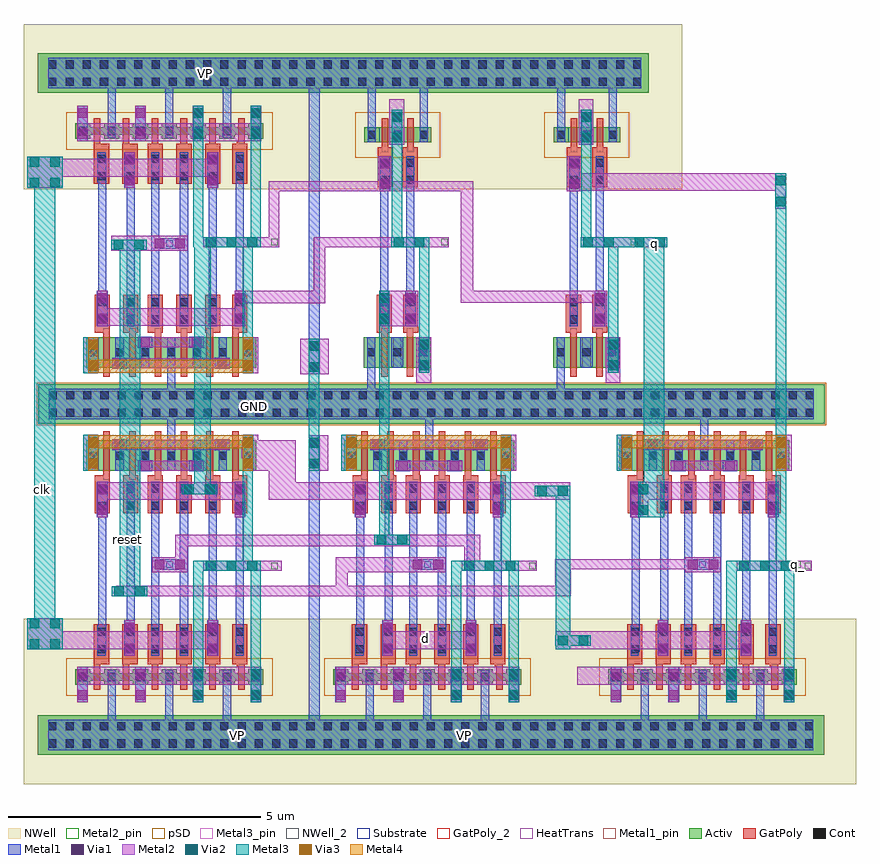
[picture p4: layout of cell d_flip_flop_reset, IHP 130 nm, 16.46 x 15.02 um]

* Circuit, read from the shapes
.subckt d_flip_flop_reset GND VP clk d q q_ reset
XM1 n1 NAND_2in_x2_27/a NAND_3in_x3_19/a GND sg13_lv_nmos w=0.6u l=0.13u m=2
XM2 n2 NAND_3in_x3_21/a NAND_2in_x2_27/a GND sg13_lv_nmos w=0.6u l=0.13u m=2
XM3 n3 clk n1 GND sg13_lv_nmos w=0.6u l=0.13u m=2
XM4 n4 clk n2 GND sg13_lv_nmos w=0.6u l=0.13u m=2
XM5 GND NAND_2in_x2_28/a n3 GND sg13_lv_nmos w=0.6u l=0.13u m=2
XM6 GND reset n4 GND sg13_lv_nmos w=0.6u l=0.13u m=2
XM7 n5 NAND_3in_x3_19/a NAND_2in_x2_28/a GND sg13_lv_nmos w=0.6u l=0.13u m=2
XM8 n6 NAND_2in_x2_27/a GND GND sg13_lv_nmos w=0.6u l=0.13u
XM9 n7 d n5 GND sg13_lv_nmos w=0.6u l=0.13u m=2
XM10 NAND_3in_x3_21/a NAND_2in_x2_28/a n6 GND sg13_lv_nmos w=0.6u l=0.13u
XM11 GND reset n7 GND sg13_lv_nmos w=0.6u l=0.13u m=2
XM12 n8 q_ GND GND sg13_lv_nmos w=0.6u l=0.13u
XM13 q NAND_2in_x2_27/a n8 GND sg13_lv_nmos w=0.6u l=0.13u
XM14 n9 q q_ GND sg13_lv_nmos w=0.6u l=0.13u m=2
XM15 n10 NAND_3in_x3_19/a n9 GND sg13_lv_nmos w=0.6u l=0.13u m=2
XM16 GND reset n10 GND sg13_lv_nmos w=0.6u l=0.13u m=2
XM17 VP NAND_2in_x2_27/a NAND_3in_x3_19/a VP sg13_lv_pmos w=0.15u l=0.13u m=2
XM18 VP NAND_3in_x3_21/a NAND_2in_x2_27/a VP sg13_lv_pmos w=0.15u l=0.13u m=2
XM19 NAND_3in_x3_19/a clk VP VP sg13_lv_pmos w=0.15u l=0.13u m=2
XM20 NAND_2in_x2_27/a clk VP VP sg13_lv_pmos w=0.15u l=0.13u m=2
XM21 VP NAND_2in_x2_28/a NAND_3in_x3_19/a VP sg13_lv_pmos w=0.15u l=0.13u m=2
XM22 VP reset NAND_2in_x2_27/a VP sg13_lv_pmos w=0.15u l=0.13u m=2
XM23 VP NAND_3in_x3_19/a NAND_2in_x2_28/a VP sg13_lv_pmos w=0.15u l=0.13u m=2
XM24 NAND_2in_x2_28/a d VP VP sg13_lv_pmos w=0.15u l=0.13u m=2
XM25 NAND_3in_x3_21/a NAND_2in_x2_27/a VP VP sg13_lv_pmos w=0.3u l=0.13u
XM26 VP NAND_2in_x2_28/a NAND_3in_x3_21/a VP sg13_lv_pmos w=0.3u l=0.13u
XM27 VP reset NAND_2in_x2_28/a VP sg13_lv_pmos w=0.15u l=0.13u m=2
XM28 q q_ VP VP sg13_lv_pmos w=0.3u l=0.13u
XM29 VP NAND_2in_x2_27/a q VP sg13_lv_pmos w=0.3u l=0.13u
XM30 VP q q_ VP sg13_lv_pmos w=0.15u l=0.13u m=2
XM31 q_ NAND_3in_x3_19/a VP VP sg13_lv_pmos w=0.15u l=0.13u m=2
XM32 VP reset q_ VP sg13_lv_pmos w=0.15u l=0.13u m=2
.ends

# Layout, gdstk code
from math import pi, radians
import gdstk
lib = gdstk.Library(unit=1e-6, precision=1e-09)
def R(c, l, rs):  # rectangles x0, y0, x1, y1
    for r in rs: c.add(gdstk.rectangle(r[:2], r[2:], *l))
def A(c, l, x, y, w, h, nx, ny, dx, dy):  # array of equal rectangles
    R(c, l, [(x+i*dx, y+j*dy, x+i*dx+w, y+j*dy+h) for i in range(nx) for j in range(ny)])
Activ = (1, 0)
GatPoly = (5, 0)
GatPoly_2 = (5, 2)
Cont = (6, 0)
Metal1 = (8, 0)
Metal1_pin = (8, 2)
Metal2 = (10, 0)
Metal2_pin = (10, 2)
pSD = (14, 0)
Via1 = (19, 0)
Via2 = (29, 0)
Metal3 = (30, 0)
Metal3_pin = (30, 2)
NWell = (31, 0)
NWell_2 = (31, 2)
Substrate = (40, 0)
Via3 = (49, 0)
Metal4 = (50, 0)
HeatTrans = (51, 0)

ptap1_19 = lib.new_cell('ptap1$19')
R(ptap1_19, Activ, [(0,0,1.7,0.78)])
A(ptap1_19, Cont, 0.09, 0.14, 0.16, 0.16, 5, 2, 0.34, 0.34)
R(ptap1_19, Metal1, [(0.09,0.09,1.61,0.69), (0.09,0.14,1.61,0.64)])
R(ptap1_19, Metal1_pin, [(0.09,0.14,1.61,0.64)])
R(ptap1_19, pSD, [(-0.03,-0.03,1.73,0.81)])
R(ptap1_19, Substrate, [(0,0,1.7,0.78)])
ptap1_19.add(gdstk.Label('sub!', (0.85,0.01), layer=63, texttype=0))
ptap1_19.add(gdstk.Label('sub!', (0.85,0.01), layer=40, texttype=0))

ntap1_2 = lib.new_cell('ntap1$2')
R(ntap1_2, Activ, [(0,0,1.7,0.78)])
A(ntap1_2, Cont, 0.09, 0.14, 0.16, 0.16, 5, 2, 0.34, 0.34)
R(ntap1_2, Metal1, [(0.09,0.09,1.61,0.69)])
R(ntap1_2, Metal1_pin, [(0.09,0.09,1.61,0.69), (0.09,0.14,1.61,0.64)])
R(ntap1_2, NWell, [(-0.24,-0.24,1.94,1.02), (0,0,1.7,0.78)])
R(ntap1_2, NWell_2, [(0,0,1.7,0.78)])
ntap1_2.add(gdstk.Label('well', (0.85,0.01), layer=63, texttype=0))
ntap1_2.add(gdstk.Label('well', (0.85,0.01), layer=31, texttype=0))

ntap1_11 = lib.new_cell('ntap1$11')
R(ntap1_11, Activ, [(0,0,2.4,0.78)])
A(ntap1_11, Cont, 0.1, 0.14, 0.16, 0.16, 7, 2, 0.34, 0.34)
R(ntap1_11, Metal1, [(0.1,0.09,2.3,0.69)])
R(ntap1_11, Metal1_pin, [(0.1,0.09,2.3,0.69), (0.1,0.14,2.3,0.64)])
R(ntap1_11, NWell, [(-0.24,-0.24,2.64,1.02), (0,0,2.4,0.78)])
R(ntap1_11, NWell_2, [(0,0,2.4,0.78)])
ntap1_11.add(gdstk.Label('well', (1.2,0.01), layer=63, texttype=0))
ntap1_11.add(gdstk.Label('well', (1.2,0.01), layer=31, texttype=0))

ntap1_4 = lib.new_cell('ntap1$4')
R(ntap1_4, Activ, [(0,0,2.2,0.78)])
A(ntap1_4, Cont, 0.17, 0.14, 0.16, 0.16, 6, 2, 0.34, 0.34)
R(ntap1_4, Metal1, [(0.17,0.09,2.03,0.69)])
R(ntap1_4, Metal1_pin, [(0.17,0.09,2.03,0.69), (0.17,0.14,2.03,0.64)])
R(ntap1_4, NWell, [(-0.24,-0.24,2.44,1.02), (0,0,2.2,0.78)])
R(ntap1_4, NWell_2, [(0,0,2.2,0.78)])
ntap1_4.add(gdstk.Label('well', (1.1,0.01), layer=63, texttype=0))
ntap1_4.add(gdstk.Label('well', (1.1,0.01), layer=31, texttype=0))

via_35 = lib.new_cell('Via$35')
R(via_35, Metal2, [(-0.35,-0.1,0.35,0.1)])
R(via_35, Via2, [(-0.3,-0.095,-0.11,0.095), (0.11,-0.095,0.3,0.095)])
R(via_35, Metal3, [(-0.35,-0.1,0.35,0.1)])

via_1 = lib.new_cell('Via$1')
R(via_1, Metal2, [(-0.35,-0.305,0.35,0.305)])
R(via_1, Via2, [(-0.3,-0.3,-0.11,-0.11), (0.11,-0.3,0.3,-0.11), (-0.3,0.11,-0.11,0.3), (0.11,0.11,0.3,0.3)])
R(via_1, Metal3, [(-0.35,-0.305,0.35,0.305)])

via_9 = lib.new_cell('Via$9')
R(via_9, Metal2, [(-0.1,-0.35,0.1,0.35)])
R(via_9, Via2, [(-0.095,-0.3,0.095,-0.11), (-0.095,0.11,0.095,0.3)])
R(via_9, Metal3, [(-0.1,-0.35,0.1,0.35)])

via_6 = lib.new_cell('Via$6')
R(via_6, Metal1, [(-0.105,-0.35,0.105,0.35)])
R(via_6, Metal2, [(-0.1,-0.35,0.1,0.35)])
R(via_6, Via1, [(-0.095,-0.3,0.095,-0.11), (-0.095,0.11,0.095,0.3)])

via_1_4 = lib.new_cell('Via$1$4')
R(via_1_4, Metal2, [(-0.1,-0.555,0.1,0.555)])
A(via_1_4, Via2, -0.095, -0.505, 0.19, 0.19, 1, 3, 0, 0.41)
R(via_1_4, Metal3, [(-0.1,-0.555,0.1,0.555)])

nmos_2 = lib.new_cell('nmos$2')
A(nmos_2, Activ, 0, 0, 0.3, 0.3, 7, 1, 0.51, 0)
R(nmos_2, Activ, [(0,0,3.36,0.6)])
A(nmos_2, GatPoly, 0.34, -0.18, 0.13, 0.96, 6, 1, 0.51, 0)
R(nmos_2, GatPoly_2, [(0.34,-0.18,0.47,0.78)])
A(nmos_2, Cont, 0.07, 0.22, 0.16, 0.16, 7, 1, 0.51, 0)
A(nmos_2, Metal1, 0.07, 0, 0.16, 0.6, 7, 1, 0.51, 0)
R(nmos_2, Metal1_pin, [(0.07,0,0.23,0.6), (0.58,0,0.74,0.6)])
A(nmos_2, HeatTrans, 0.34, -0.18, 0.13, 0.96, 6, 1, 0.51, 0)
nmos_2.add(gdstk.Label('nmos', (0.405,0.3), layer=63, texttype=0))
nmos_2.add(gdstk.Label('nmos', (0.405,0.3), layer=51, texttype=0))
nmos_2.add(gdstk.Label('nmos', (0.915,0.3), layer=51, texttype=0))
nmos_2.add(gdstk.Label('nmos', (1.425,0.3), layer=51, texttype=0))
nmos_2.add(gdstk.Label('nmos', (1.935,0.3), layer=51, texttype=0))
nmos_2.add(gdstk.Label('nmos', (2.445,0.3), layer=51, texttype=0))
nmos_2.add(gdstk.Label('nmos', (2.955,0.3), layer=51, texttype=0))

ntap1_6 = lib.new_cell('ntap1$6')
R(ntap1_6, Activ, [(0,0,5,0.78)])
A(ntap1_6, Cont, 0.21, 0.14, 0.16, 0.16, 14, 2, 0.34, 0.34)
R(ntap1_6, Metal1, [(0.21,0.09,4.79,0.69)])
R(ntap1_6, Metal1_pin, [(0.21,0.09,4.79,0.69), (0.21,0.14,4.79,0.64)])
R(ntap1_6, NWell, [(-0.24,-0.24,5.24,1.02), (0,0,5,0.78)])
R(ntap1_6, NWell_2, [(0,0,5,0.78)])
ntap1_6.add(gdstk.Label('well', (2.5,0.01), layer=63, texttype=0))
ntap1_6.add(gdstk.Label('well', (2.5,0.01), layer=31, texttype=0))

ptap1_2 = lib.new_cell('ptap1$2')
R(ptap1_2, Activ, [(0,0,5,0.78)])
A(ptap1_2, Cont, 0.21, 0.14, 0.16, 0.16, 14, 2, 0.34, 0.34)
R(ptap1_2, Metal1, [(0.21,0.09,4.79,0.69), (0.21,0.14,4.79,0.64)])
R(ptap1_2, Metal1_pin, [(0.21,0.14,4.79,0.64)])
R(ptap1_2, pSD, [(-0.03,-0.03,5.03,0.81)])
R(ptap1_2, Substrate, [(0,0,5,0.78)])
ptap1_2.add(gdstk.Label('sub!', (2.5,0.01), layer=63, texttype=0))
ptap1_2.add(gdstk.Label('sub!', (2.5,0.01), layer=40, texttype=0))

via_4_1 = lib.new_cell('Via$4$1')
R(via_4_1, Metal3, [(-0.1,-0.35,0.1,0.35)])
R(via_4_1, Via3, [(-0.095,-0.3,0.095,-0.11), (-0.095,0.11,0.095,0.3)])
R(via_4_1, Metal4, [(-0.1,-0.35,0.1,0.35)])

via_2_4 = lib.new_cell('Via$2$4')
R(via_2_4, Metal2, [(-0.1,-0.35,0.1,0.35)])
R(via_2_4, Via2, [(-0.095,-0.3,0.095,-0.11), (-0.095,0.11,0.095,0.3)])
R(via_2_4, Metal3, [(-0.1,-0.35,0.1,0.35)])

via_3_1 = lib.new_cell('Via$3$1')
R(via_3_1, GatPoly, [(-0.32,-0.15,0.32,0.15)])
R(via_3_1, Cont, [(-0.25,-0.08,-0.09,0.08), (0.09,-0.08,0.25,0.08)])
R(via_3_1, Metal1, [(-0.3,-0.08,0.3,0.08)])

pmos_2_3 = lib.new_cell('pmos$2$3')
A(pmos_2_3, Activ, 0, 0, 0.3, 0.3, 7, 1, 0.57, 0)
R(pmos_2_3, Activ, [(0,0.075,3.72,0.225)])
A(pmos_2_3, GatPoly, 0.37, -0.105, 0.13, 0.51, 6, 1, 0.57, 0)
R(pmos_2_3, GatPoly, [(0.37,-0.105,0.5,0.405)])
A(pmos_2_3, Cont, 0.07, 0.07, 0.16, 0.16, 7, 1, 0.57, 0)
A(pmos_2_3, Metal1, 0.64, 0.02, 0.16, 0.26, 6, 1, 0.57, 0)
R(pmos_2_3, Metal1, [(0.07,0.02,0.23,0.28), (0.07,0.02,0.23,0.28), (0.64,0.02,0.8,0.28)])
R(pmos_2_3, pSD, [(-0.18,-0.225,3.9,0.525)])
R(pmos_2_3, NWell, [(-0.31,-0.31,4.03,0.61)])
A(pmos_2_3, HeatTrans, 0.37, -0.105, 0.13, 0.51, 6, 1, 0.57, 0)
pmos_2_3.add(gdstk.Label('pmos', (0.435,0.15), layer=63, texttype=0))
pmos_2_3.add(gdstk.Label('pmos', (0.435,0.15), layer=51, texttype=0))
pmos_2_3.add(gdstk.Label('pmos', (1.005,0.15), layer=51, texttype=0))
pmos_2_3.add(gdstk.Label('pmos', (1.575,0.15), layer=51, texttype=0))
pmos_2_3.add(gdstk.Label('pmos', (2.145,0.15), layer=51, texttype=0))
pmos_2_3.add(gdstk.Label('pmos', (2.715,0.15), layer=51, texttype=0))
pmos_2_3.add(gdstk.Label('pmos', (3.285,0.15), layer=51, texttype=0))

via_5 = lib.new_cell('Via$5')
R(via_5, Metal1, [(-0.145,-0.105,0.145,0.105)])
R(via_5, Metal2, [(-0.145,-0.1,0.145,0.1)])
R(via_5, Via1, [(-0.095,-0.095,0.095,0.095)])

nand_3in_x3 = lib.new_cell('NAND_3in_x3')
A(nand_3in_x3, GatPoly, -0.54, -2.93, 0.3, 0.11, 3, 1, 0.57, 0)
A(nand_3in_x3, GatPoly, -0.54, 0.655, 0.3, 0.15, 3, 1, 0.57, 0)
R(nand_3in_x3, GatPoly, [(-1.585,-2.93,-1.285,-2.82), (-1.02,-2.93,-0.72,-2.82), (1.135,-2.93,1.435,-2.82), (-1.6,0.655,-1.3,0.805), (-1.035,0.655,-0.735,0.805), (1.13,0.655,1.43,0.805), (0.68,0.755,0.81,0.845), (1.22,0.755,1.35,0.845)])
R(nand_3in_x3, Metal1, [(-0.155,-4.075,0.005,-3.295), (-1.515,-2.44,-1.355,0.56), (-0.95,-2.44,-0.79,0.05), (0.67,-2.44,0.83,0.05), (-0.47,-2.38,-0.31,0.175), (0.1,-2.38,0.26,0.245), (1.2,-2.21,1.36,-1.27), (1.2,-1.31,1.36,-0.37), (1.2,-0.455,1.36,0.075), (0.95,1.005,1.11,2.015), (-1.33,1.07,-1.17,2.065), (-0.19,1.075,-0.03,2.065)])
R(nand_3in_x3, Metal1_pin, [(0.44,-4.33,0.57,-4.2), (0.74,2.225,0.87,2.355)])
R(nand_3in_x3, Metal2, [(-1.81,-3.73,-1.7,-3.02), (1.54,-3.73,1.65,-3.02), (-1.005,-3.635,1.015,-3.435), (-0.53,-3.22,0.43,-3.02), (-1.475,-2.795,1.395,-2.445), (-0.45,-1.315,0.25,-1.015), (1.62,-1.24,2.05,-1.04), (-0.895,0.155,0.83,0.505), (-1.925,0.855,1.7,1.205)])
R(nand_3in_x3, Metal2_pin, [(1.225,-2.31,1.355,-2.18), (-0.175,-1.235,-0.045,-1.105), (1.905,-1.205,2.035,-1.075), (0.69,0.005,0.82,0.135), (0.69,0.005,0.82,0.135)])
R(nand_3in_x3, Metal3, [(-1.81,-3.73,-1.71,-3.02), (1.34,-3.03,1.54,-2.83), (1.34,-2.83,1.54,-2.425), (1.34,-2.5,1.54,-1.15), (0.36,-1.24,0.56,-0.97), (0.38,-1.24,0.565,-1.04), (1.66,-1.24,1.7,-1.09), (1.5,-1.09,1.7,0.17), (0.36,-0.97,0.56,0.26), (1.5,0.045,1.7,1.02), (0.36,0.155,0.56,0.855)])
R(nand_3in_x3, NWell, [(-2.99,-0.1,2.93,3.17)])
R(nand_3in_x3, Metal4, [(-1.7,-3.72,1.54,-3.47)])
nand_3in_x3.add(gdstk.Reference(via_6, (1.285,-2.45), rotation=pi))
nand_3in_x3.add(gdstk.Reference(via_6, (0.75,0.285), rotation=pi))
nand_3in_x3.add(gdstk.Reference(via_6, (0.46,1.205), rotation=pi))
nand_3in_x3.add(gdstk.Reference(via_6, (1.6,1.205), rotation=pi))
nand_3in_x3.add(gdstk.Reference(via_1_4, (1.12,-1.14), rotation=3*pi/2))
nand_3in_x3.add(gdstk.Reference(nmos_2, (1.605,-3.02), rotation=pi))
nand_3in_x3.add(gdstk.Reference(ntap1_6, (-2.71,1.81)))
nand_3in_x3.add(gdstk.Reference(ptap1_2, (-2.7,-4.73)))
nand_3in_x3.add(gdstk.Reference(via_4_1, (1.44,-3.37), rotation=pi))
nand_3in_x3.add(gdstk.Reference(via_2_4, (0.46,1.205), rotation=pi))
nand_3in_x3.add(gdstk.Reference(via_2_4, (1.6,1.205), rotation=pi))
nand_3in_x3.add(gdstk.Reference(via_3_1, (0.75,-2.5), rotation=3*pi/2))
nand_3in_x3.add(gdstk.Reference(via_3_1, (1.285,-2.5), rotation=3*pi/2))
nand_3in_x3.add(gdstk.Reference(via_3_1, (0.75,0.335), rotation=3*pi/2))
nand_3in_x3.add(gdstk.Reference(via_3_1, (1.28,0.335), rotation=3*pi/2))
nand_3in_x3.add(gdstk.Reference(pmos_2_3, (1.75,1.205), rotation=pi))
nand_3in_x3.add(gdstk.Reference(via_3_1, (0.18,0.335), rotation=3*pi/2))
nand_3in_x3.add(gdstk.Reference(via_3_1, (0.18,-2.5), rotation=3*pi/2))
nand_3in_x3.add(gdstk.Reference(via_3_1, (-0.39,0.335), rotation=3*pi/2))
nand_3in_x3.add(gdstk.Reference(via_3_1, (-0.39,-2.5), rotation=3*pi/2))
nand_3in_x3.add(gdstk.Reference(via_6, (-0.1,-1.165), rotation=3*pi/2))
nand_3in_x3.add(gdstk.Reference(via_6, (-0.68,1.205), rotation=pi))
nand_3in_x3.add(gdstk.Reference(via_6, (-1.825,1.205), rotation=pi))
nand_3in_x3.add(gdstk.Reference(via_6, (0.75,0.285), rotation=pi))
nand_3in_x3.add(gdstk.Reference(via_3_1, (0.75,0.335), rotation=3*pi/2))
nand_3in_x3.add(gdstk.Reference(via_3_1, (-0.885,0.335), rotation=3*pi/2))
nand_3in_x3.add(gdstk.Reference(via_6, (-0.895,0.285), rotation=pi))
nand_3in_x3.add(gdstk.Reference(via_3_1, (-0.885,0.335), rotation=3*pi/2))
nand_3in_x3.add(gdstk.Reference(via_6, (-0.895,0.285), rotation=pi))
nand_3in_x3.add(gdstk.Reference(via_3_1, (-0.87,-2.5), rotation=3*pi/2))
nand_3in_x3.add(gdstk.Reference(via_6, (-1.435,-2.45), rotation=pi))
nand_3in_x3.add(gdstk.Reference(via_3_1, (-1.435,-2.5), rotation=3*pi/2))
nand_3in_x3.add(gdstk.Reference(via_3_1, (-1.45,0.335), rotation=3*pi/2))
nand_3in_x3.add(gdstk.Reference(via_6, (-1.61,-3.37), rotation=pi))
nand_3in_x3.add(gdstk.Reference(via_2_4, (1.445,-3.38), rotation=pi))
nand_3in_x3.add(gdstk.Reference(via_2_4, (-1.61,-3.38), rotation=pi))
nand_3in_x3.add(gdstk.Reference(via_4_1, (-1.61,-3.37), rotation=pi))
nand_3in_x3.add(gdstk.Reference(via_6, (1.445,-3.37), rotation=pi))
nand_3in_x3.add(gdstk.Reference(via_5, (-0.59,-3.12)))
nand_3in_x3.add(gdstk.Reference(via_5, (0.43,-3.12)))
nand_3in_x3.add(gdstk.Reference(via_5, (-1.095,-3.535)))
nand_3in_x3.add(gdstk.Reference(via_5, (0.935,-3.535)))
nand_3in_x3.add(gdstk.Label('GND', (0.505,-4.26), layer=8, texttype=25))
nand_3in_x3.add(gdstk.Label('VP', (0.8,2.285), layer=8, texttype=25))
nand_3in_x3.add(gdstk.Label('a', (1.285,-2.25), layer=10, texttype=25))
nand_3in_x3.add(gdstk.Label('b', (0.76,0.095), layer=10, texttype=25))
nand_3in_x3.add(gdstk.Label('b', (0.76,0.095), layer=10, texttype=25))
nand_3in_x3.add(gdstk.Label('c', (-0.11,-1.175), layer=10, texttype=25))
nand_3in_x3.add(gdstk.Label('y', (1.97,-1.14), layer=10, texttype=25))

via_8_1 = lib.new_cell('Via$8$1')
R(via_8_1, Metal1, [(-0.105,-0.35,0.105,0.35)])
R(via_8_1, Metal2, [(-0.1,-0.35,0.1,0.35)])
R(via_8_1, Via1, [(-0.095,-0.3,0.095,-0.11), (-0.095,0.11,0.095,0.3)])

ntap1_7 = lib.new_cell('ntap1$7')
R(ntap1_7, Activ, [(0,0,2.5,0.78)])
A(ntap1_7, Cont, 0.15, 0.14, 0.16, 0.16, 7, 2, 0.34, 0.34)
R(ntap1_7, Metal1, [(0.15,0.09,2.35,0.69)])
R(ntap1_7, Metal1_pin, [(0.15,0.09,2.35,0.69), (0.15,0.14,2.35,0.64)])
R(ntap1_7, NWell, [(-0.24,-0.24,2.74,1.02), (0,0,2.5,0.78)])
R(ntap1_7, NWell_2, [(0,0,2.5,0.78)])
ntap1_7.add(gdstk.Label('well', (1.25,0.01), layer=63, texttype=0))
ntap1_7.add(gdstk.Label('well', (1.25,0.01), layer=31, texttype=0))

ptap1_3_1 = lib.new_cell('ptap1$3$1')
R(ptap1_3_1, Activ, [(0,0,2.5,0.78)])
A(ptap1_3_1, Cont, 0.15, 0.14, 0.16, 0.16, 7, 2, 0.34, 0.34)
R(ptap1_3_1, Metal1, [(0.15,0.09,2.35,0.69), (0.15,0.14,2.35,0.64)])
R(ptap1_3_1, Metal1_pin, [(0.15,0.14,2.35,0.64)])
R(ptap1_3_1, pSD, [(-0.03,-0.03,2.53,0.81)])
R(ptap1_3_1, Substrate, [(0,0,2.5,0.78)])
ptap1_3_1.add(gdstk.Label('sub!', (1.25,0.01), layer=63, texttype=0))
ptap1_3_1.add(gdstk.Label('sub!', (1.25,0.01), layer=40, texttype=0))

via_10 = lib.new_cell('Via$10')
R(via_10, Metal2, [(-0.1,-0.35,0.1,0.35)])
R(via_10, Via2, [(-0.095,-0.3,0.095,-0.11), (-0.095,0.11,0.095,0.3)])
R(via_10, Metal3, [(-0.1,-0.35,0.1,0.35)])

via_1_5 = lib.new_cell('Via$1$5')
R(via_1_5, Metal1, [(-0.105,-0.35,0.105,0.35)])
R(via_1_5, Metal2, [(-0.1,-0.35,0.1,0.35)])
R(via_1_5, Via1, [(-0.095,-0.3,0.095,-0.11), (-0.095,0.11,0.095,0.3)])

via_2 = lib.new_cell('Via$2')
R(via_2, GatPoly, [(-0.32,-0.15,0.32,0.15)])
R(via_2, Cont, [(-0.25,-0.08,-0.09,0.08), (0.09,-0.08,0.25,0.08)])
R(via_2, Metal1, [(-0.3,-0.08,0.3,0.08)])

pmos = lib.new_cell('pmos')
A(pmos, Activ, 0, 0, 0.3, 0.3, 3, 1, 0.51, 0)
R(pmos, Activ, [(0,0,1.32,0.3)])
R(pmos, GatPoly, [(0.34,-0.18,0.47,0.48), (0.34,-0.18,0.47,0.48), (0.85,-0.18,0.98,0.48)])
A(pmos, Cont, 0.07, 0.07, 0.16, 0.16, 3, 1, 0.51, 0)
R(pmos, Metal1, [(0.07,0,0.23,0.3), (0.07,0,0.23,0.3), (0.58,0,0.74,0.3), (0.58,0,0.74,0.3), (1.09,0,1.25,0.3)])
R(pmos, pSD, [(-0.18,-0.3,1.5,0.6)])
R(pmos, NWell, [(-0.31,-0.31,1.63,0.61)])
R(pmos, Substrate, [(1.02,0,1.32,0.3)])
R(pmos, HeatTrans, [(0.34,-0.18,0.47,0.48), (0.85,-0.18,0.98,0.48)])
pmos.add(gdstk.Label('pmos', (0.405,0.15), layer=63, texttype=0))
pmos.add(gdstk.Label('pmos', (0.405,0.15), layer=51, texttype=0))
pmos.add(gdstk.Label('pmos', (0.915,0.15), layer=51, texttype=0))

nmos = lib.new_cell('nmos')
A(nmos, Activ, 0, 0, 0.3, 0.3, 3, 1, 0.51, 0)
R(nmos, Activ, [(0,0,1.32,0.6)])
R(nmos, GatPoly, [(0.34,-0.18,0.47,0.78), (0.85,-0.18,0.98,0.78)])
R(nmos, GatPoly_2, [(0.34,-0.18,0.47,0.78)])
A(nmos, Cont, 0.07, 0.22, 0.16, 0.16, 3, 1, 0.51, 0)
A(nmos, Metal1, 0.07, 0, 0.16, 0.6, 3, 1, 0.51, 0)
R(nmos, Metal1_pin, [(0.07,0,0.23,0.6), (0.58,0,0.74,0.6)])
R(nmos, HeatTrans, [(0.34,-0.18,0.47,0.78), (0.85,-0.18,0.98,0.78)])
nmos.add(gdstk.Label('nmos', (0.405,0.3), layer=63, texttype=0))
nmos.add(gdstk.Label('nmos', (0.405,0.3), layer=51, texttype=0))
nmos.add(gdstk.Label('nmos', (0.915,0.3), layer=51, texttype=0))

nand_2in_x2 = lib.new_cell('NAND_2in_x2')
R(nand_2in_x2, GatPoly, [(0.63,-2.93,0.93,-2.82), (1.15,-2.93,1.45,-2.82), (0.645,0.58,0.945,0.73), (1.145,0.58,1.445,0.73), (0.725,0.68,0.855,0.77)])
R(nand_2in_x2, Metal1, [(0.445,-4.32,0.605,-3.295), (0.915,-3.6,1.155,-3.34), (0.915,-3.36,1.155,-3.02), (0.7,-2.68,0.86,0.26), (1.215,-2.21,1.375,-1.27), (1.215,-1.31,1.375,-0.37), (1.215,-0.37,1.375,-0.01), (0.455,1.01,0.615,1.15), (0.455,1.115,0.615,1.99), (1.475,1.115,1.635,1.94)])
R(nand_2in_x2, Metal1_pin, [(0.44,-4.32,0.57,-4.19), (0.4,2.15,0.53,2.28)])
R(nand_2in_x2, Metal2, [(1.415,-3.92,1.705,-3.72), (1.415,-3.72,1.705,-3.02), (1.15,-2.8,1.45,-2.1), (1.62,-1.24,2.05,-1.04), (0.645,-0.14,0.945,0.56), (0.88,0.78,1.17,0.98), (0.88,0.98,1.17,1.68)])
R(nand_2in_x2, Metal2_pin, [(1.24,-2.27,1.37,-2.14), (1.905,-1.205,2.035,-1.075), (0.735,-0.1,0.865,0.03)])
R(nand_2in_x2, Metal3, [(1.465,-3.03,1.665,-2.83), (1.465,-2.905,1.665,-1.045), (0.93,-1.09,1.13,0.17), (0.93,0.1,1.13,0.62), (0.93,0.62,1.13,0.72), (0.93,0.71,1.13,0.87)])
R(nand_2in_x2, NWell, [(-0.85,-0.1,2.93,3.17)])
nand_2in_x2.add(gdstk.Reference(ntap1_7, (-0.23,1.81)))
nand_2in_x2.add(gdstk.Reference(ptap1_3_1, (-0.22,-4.73)))
nand_2in_x2.add(gdstk.Reference(via_10, (1.27,-1.14), rotation=3*pi/2))
nand_2in_x2.add(gdstk.Reference(via_1_5, (1.565,-3.37), rotation=pi))
nand_2in_x2.add(gdstk.Reference(via_1_5, (1.3,-2.45), rotation=pi))
nand_2in_x2.add(gdstk.Reference(via_1_5, (0.795,0.21), rotation=pi))
nand_2in_x2.add(gdstk.Reference(via_1_5, (1.03,1.13), rotation=pi))
nand_2in_x2.add(gdstk.Reference(via_2, (1.3,-2.5), rotation=3*pi/2))
nand_2in_x2.add(gdstk.Reference(via_2, (0.795,0.26), rotation=3*pi/2))
nand_2in_x2.add(gdstk.Reference(via_2, (1.295,0.26), rotation=3*pi/2))
nand_2in_x2.add(gdstk.Reference(via_10, (1.565,-3.37), rotation=pi))
nand_2in_x2.add(gdstk.Reference(via_10, (1.03,1.13), rotation=pi))
nand_2in_x2.add(gdstk.Reference(pmos, (1.705,1.13), rotation=pi))
nand_2in_x2.add(gdstk.Reference(via_2, (0.78,-2.5), rotation=3*pi/2))
nand_2in_x2.add(gdstk.Reference(nmos, (1.695,-3.02), rotation=pi))
nand_2in_x2.add(gdstk.Label('GND', (0.505,-4.25), layer=8, texttype=25))
nand_2in_x2.add(gdstk.Label('VP', (0.46,2.21), layer=8, texttype=25))
nand_2in_x2.add(gdstk.Label('b', (0.795,-0.04), layer=10, texttype=25))
nand_2in_x2.add(gdstk.Label('a', (1.3,-2.21), layer=10, texttype=25))
nand_2in_x2.add(gdstk.Label('y', (1.97,-1.14), layer=10, texttype=25))

d_flip_flop_reset = lib.new_cell('d_flip_flop_reset')
R(d_flip_flop_reset, Metal1, [(1.34,-7.79,1.55,-2.647), (1.34,-0.07,1.55,5.11)])
R(d_flip_flop_reset, Metal1_pin, [(4.345,-7.965,4.475,-7.835), (-0.13,-7.955,0,-7.825), (0.19,-1.45,0.32,-1.32), (-0.775,5.135,-0.645,5.265)])
R(d_flip_flop_reset, Metal2, [(6.64,-6.885,7.635,-6.535), (-3.98,-6.185,-1.905,-5.835), (6.215,-6.185,8.6,-5.835), (-2.47,-5.135,2.105,-4.935), (1.865,-5.135,2.105,-4.585), (2,-5.135,6.515,-4.935), (6.21,-5.135,6.515,-4.52), (1.865,-4.665,3.56,-4.365), (0.62,-4.64,0.8,-4.44), (4.405,-4.64,4.725,-4.025), (6.21,-4.61,9.48,-4.41), (-1.3,-4.51,-1.06,-3.96), (-1.3,-4.15,4.725,-3.92), (0.545,-3.235,2.615,-2.885), (0.545,-3.235,1.075,-2.06), (4.86,-3.235,6.5,-2.885), (0.29,-2.66,0.59,-2.41), (1.34,-2.66,1.72,-1.96), (0.015,-2.41,1.075,-2.06), (1.17,-0.75,1.73,-0.05), (2.86,0.2,3.25,0.9), (-0.125,0.535,0.085,0.735), (-0.125,0.65,1.66,0.9), (1.43,0.65,1.66,1.96), (4.345,0.66,7.05,0.9), (4.345,0.9,4.585,3.06), (-2.57,1.685,-1.76,1.985), (0.55,1.76,0.75,3.058), (1.66,1.76,3.02,1.96), (0.55,2.86,4.535,3.06), (6.435,2.87,10.77,3.22), (-3.98,3.155,-1.905,3.505)])
R(d_flip_flop_reset, Metal2_pin, [(3.58,-6.03,3.71,-5.9), (10.93,-4.58,11.06,-4.45), (8.1,1.77,8.23,1.9)])
R(d_flip_flop_reset, Metal3, [(6.215,-6.185,6.5,-2.96), (-4.085,-5.99,-3.675,3.04), (-2.4,-5.14,-1.99,1.805), (2.73,-4.015,2.93,0.215), (7.955,-3.58,8.365,1.96), (10.57,-3.23,10.77,3.22), (-0.93,-3.115,-0.6,1.96), (1.34,-2.31,1.54,-0.74), (7.39,1.76,7.63,1.96), (7.6,1.76,7.92,1.96)])
R(d_flip_flop_reset, Metal3_pin, [(-2.31,-4.08,-2.18,-3.95), (-4,-3.09,-3.87,-2.96)])
d_flip_flop_reset.add(gdstk.Reference(ptap1_19, (0.53,-1.73)))
d_flip_flop_reset.add(gdstk.Reference(ptap1_19, (3.93,-1.73)))
d_flip_flop_reset.add(gdstk.Reference(ntap1_2, (0.52,4.81)))
d_flip_flop_reset.add(gdstk.Reference(ntap1_2, (0.52,-8.27)))
d_flip_flop_reset.add(gdstk.Reference(ntap1_11, (4.93,-8.27)))
d_flip_flop_reset.add(gdstk.Reference(ntap1_4, (3.84,4.81)))
d_flip_flop_reset.add(gdstk.Reference(ntap1_2, (-3.9,-8.27)))
d_flip_flop_reset.add(gdstk.Reference(via_35, (-0.825,-3.025)))
d_flip_flop_reset.add(gdstk.Reference(via_35, (2.98,-4.02)))
d_flip_flop_reset.add(gdstk.Reference(via_35, (2.83,0.55), rotation=pi/2))
d_flip_flop_reset.add(gdstk.Reference(via_35, (6.15,-3.06)))
d_flip_flop_reset.add(gdstk.Reference(via_35, (6.56,-6.015)))
d_flip_flop_reset.add(gdstk.Reference(via_1, (-3.88,-5.88)))
d_flip_flop_reset.add(gdstk.Reference(via_1, (-3.88,3.24)))
d_flip_flop_reset.add(gdstk.Reference(via_35, (-2.22,1.81)))
d_flip_flop_reset.add(gdstk.Reference(via_9, (10.66,2.87)))
d_flip_flop_reset.add(gdstk.Reference(via_35, (8.075,1.86)))
d_flip_flop_reset.add(gdstk.Reference(via_35, (7.95,-3.23), rotation=3*pi/2))
d_flip_flop_reset.add(gdstk.Reference(nand_3in_x3, (-1.31,-5.68), x_reflection=True))
d_flip_flop_reset.add(gdstk.Reference(nand_3in_x3, (3.79,-5.68), x_reflection=True))
d_flip_flop_reset.add(gdstk.Reference(nand_3in_x3, (9.23,-5.68), x_reflection=True))
d_flip_flop_reset.add(gdstk.Reference(nand_3in_x3, (-1.31,3)))
d_flip_flop_reset.add(gdstk.Reference(via_35, (-2.21,-5.04)))
d_flip_flop_reset.add(gdstk.Reference(via_8_1, (1.445,-2.31)))
d_flip_flop_reset.add(gdstk.Reference(via_8_1, (1.445,-0.4)))
d_flip_flop_reset.add(gdstk.Reference(via_9, (1.44,-2.31)))
d_flip_flop_reset.add(gdstk.Reference(via_9, (1.44,-0.4)))
d_flip_flop_reset.add(gdstk.Reference(nand_2in_x2, (5.79,3)))
d_flip_flop_reset.add(gdstk.Reference(nand_2in_x2, (2.05,3)))
d_flip_flop_reset.add(gdstk.Label('VP', (4.41,-7.9), layer=8, texttype=25))
d_flip_flop_reset.add(gdstk.Label('VP', (-0.71,5.2), layer=8, texttype=25))
d_flip_flop_reset.add(gdstk.Label('VP', (-0.065,-7.89), layer=8, texttype=25))
d_flip_flop_reset.add(gdstk.Label('GND', (0.255,-1.385), layer=8, texttype=25))
d_flip_flop_reset.add(gdstk.Label('q', (8.165,1.835), layer=10, texttype=25))
d_flip_flop_reset.add(gdstk.Label('d', (3.645,-5.965), layer=10, texttype=25))
d_flip_flop_reset.add(gdstk.Label('q_', (10.995,-4.515), layer=10, texttype=25))
d_flip_flop_reset.add(gdstk.Label('reset', (-2.245,-4.015), layer=30, texttype=25))
d_flip_flop_reset.add(gdstk.Label('clk', (-3.935,-3.025), layer=30, texttype=25))

lib.write_gds('d_flip_flop_reset.gds')
